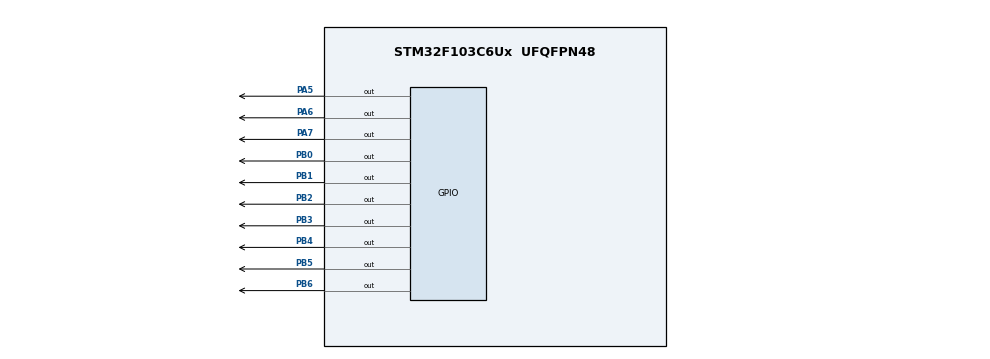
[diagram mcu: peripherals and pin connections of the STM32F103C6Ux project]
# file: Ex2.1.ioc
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Mcu.Family=STM32F1
Mcu.Name=STM32F103C6Ux
Mcu.Package=UFQFPN48
NVIC.PriorityGroup=NVIC_PRIORITYGROUP_4
NVIC.TIM2_IRQn=true\:0\:0\:false\:false\:true\:true\:true
PA5.Signal=GPIO_Output
PA6.Signal=GPIO_Output
PA7.Signal=GPIO_Output
PB0.Signal=GPIO_Output
PB1.Signal=GPIO_Output
PB2.Signal=GPIO_Output
PB3.Signal=GPIO_Output
PB4.Signal=GPIO_Output
PB5.Signal=GPIO_Output
PB6.Signal=GPIO_Output
ProjectManager.HeapSize=0x200
ProjectManager.StackSize=0x400
ProjectManager.TargetToolchain=STM32CubeIDE
RCC.APB1Freq_Value=8000000
RCC.APB2Freq_Value=8000000
TIM2.Period=9
TIM2.Prescaler=7999
VP_SYS_VS_ND.Mode=No_Debug
VP_TIM2_VS_ClockSourceINT.Mode=Internal
board=custom

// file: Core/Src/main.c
/* USER CODE BEGIN Header */
/**
  ******************************************************************************
  * @file           : main.c
  * @brief          : Main program body
  ******************************************************************************
  * @attention
  *
  * <h2><center>&copy; Copyright (c) 2026 STMicroelectronics.
  * All rights reserved.</center></h2>
  *
  * This software component is licensed by ST under BSD 3-Clause license,
  * the "License"; You may not use this file except in compliance with the
  * License. You may obtain a copy of the License at:
  *                        opensource.org/licenses/BSD-3-Clause
  *
  ******************************************************************************
  */
/* USER CODE END Header */
#include "main.h"

TIM_HandleTypeDef htim2;

/* USER CODE BEGIN PV */
int counter = 0;
int led_index = 0;

void display7SEG(int num)
{

	// Turn OFF all segments

	HAL_GPIO_WritePin(GPIOB,
	GPIO_PIN_0 |
	GPIO_PIN_1 |
	GPIO_PIN_2 |
	GPIO_PIN_3 |
	GPIO_PIN_4 |
	GPIO_PIN_5 |
	GPIO_PIN_6,
	GPIO_PIN_SET);

	switch(num)
	{

		case 1:

			// Display number 1
			// SEG1 + SEG2

			HAL_GPIO_WritePin(GPIOB,
			GPIO_PIN_1 |
			GPIO_PIN_2,
			GPIO_PIN_RESET);

			break;

		case 2:

			// Display number 2
			// SEG0 SEG1 SEG3 SEG4 SEG6

			HAL_GPIO_WritePin(GPIOB,
			GPIO_PIN_0 |
			GPIO_PIN_1 |
			GPIO_PIN_3 |
			GPIO_PIN_4 |
			GPIO_PIN_6,
			GPIO_PIN_RESET);

			break;

		default:

			break;

	}

}

void HAL_TIM_PeriodElapsedCallback(TIM_HandleTypeDef *htim)
{

	if(htim->Instance == TIM2)
	{

		counter++;

		// 50 x 10ms = 500ms
		if(counter >= 50)
		{

			counter = 0;

			HAL_GPIO_WritePin(GPIOA,
			GPIO_PIN_6|
			GPIO_PIN_7,
			GPIO_PIN_SET);

			if(led_index == 0)
			{

				display7SEG(1);

				HAL_GPIO_WritePin(GPIOA,
				GPIO_PIN_6,
				GPIO_PIN_RESET);

				led_index = 1;

			}

			else
			{

				display7SEG(2);

				// bật LED thứ hai EN1
				HAL_GPIO_WritePin(GPIOA,
				GPIO_PIN_7,
				GPIO_PIN_RESET);

				led_index = 0;

			}

		}

	}

}
/* USER CODE END PV */

void SystemClock_Config(void);
static void MX_GPIO_Init(void);
static void MX_TIM2_Init(void);

int main(void)
{

  /* MCU Configuration--------------------------------------------------------*/

  /* Reset of all peripherals, Initializes the Flash interface and the Systick. */
  HAL_Init();

  /* Configure the system clock */
  SystemClock_Config();

  /* Initialize all configured peripherals */
  MX_GPIO_Init();
  MX_TIM2_Init();
  /* USER CODE BEGIN 2 */
  HAL_TIM_Base_Start_IT(&htim2);
  /* USER CODE END 2 */

  /* Infinite loop */
  while (1)
  {

  }
}

void SystemClock_Config(void)
{
  RCC_OscInitTypeDef RCC_OscInitStruct = {0};
  RCC_ClkInitTypeDef RCC_ClkInitStruct = {0};

  /** Initializes the RCC Oscillators according to the specified parameters
  * in the RCC_OscInitTypeDef structure.
  */
  RCC_OscInitStruct.OscillatorType = RCC_OSCILLATORTYPE_HSI;
  RCC_OscInitStruct.HSIState = RCC_HSI_ON;
  RCC_OscInitStruct.HSICalibrationValue = RCC_HSICALIBRATION_DEFAULT;
  RCC_OscInitStruct.PLL.PLLState = RCC_PLL_NONE;
  if (HAL_RCC_OscConfig(&RCC_OscInitStruct) != HAL_OK)
  {
    Error_Handler();
  }
  /** Initializes the CPU, AHB and APB buses clocks
  */
  RCC_ClkInitStruct.ClockType = RCC_CLOCKTYPE_HCLK|RCC_CLOCKTYPE_SYSCLK
                              |RCC_CLOCKTYPE_PCLK1|RCC_CLOCKTYPE_PCLK2;
  RCC_ClkInitStruct.SYSCLKSource = RCC_SYSCLKSOURCE_HSI;
  RCC_ClkInitStruct.AHBCLKDivider = RCC_SYSCLK_DIV1;
  RCC_ClkInitStruct.APB1CLKDivider = RCC_HCLK_DIV1;
  RCC_ClkInitStruct.APB2CLKDivider = RCC_HCLK_DIV1;

  if (HAL_RCC_ClockConfig(&RCC_ClkInitStruct, FLASH_LATENCY_0) != HAL_OK)
  {
    Error_Handler();
  }
}

static void MX_TIM2_Init(void)
{

  TIM_ClockConfigTypeDef sClockSourceConfig = {0};
  TIM_MasterConfigTypeDef sMasterConfig = {0};

  htim2.Instance = TIM2;
  htim2.Init.Prescaler = 7999;
  htim2.Init.CounterMode = TIM_COUNTERMODE_UP;
  htim2.Init.Period = 9;
  htim2.Init.ClockDivision = TIM_CLOCKDIVISION_DIV1;
  htim2.Init.AutoReloadPreload = TIM_AUTORELOAD_PRELOAD_DISABLE;
  if (HAL_TIM_Base_Init(&htim2) != HAL_OK)
  {
    Error_Handler();
  }
  sClockSourceConfig.ClockSource = TIM_CLOCKSOURCE_INTERNAL;
  if (HAL_TIM_ConfigClockSource(&htim2, &sClockSourceConfig) != HAL_OK)
  {
    Error_Handler();
  }
  sMasterConfig.MasterOutputTrigger = TIM_TRGO_RESET;
  sMasterConfig.MasterSlaveMode = TIM_MASTERSLAVEMODE_DISABLE;
  if (HAL_TIMEx_MasterConfigSynchronization(&htim2, &sMasterConfig) != HAL_OK)
  {
    Error_Handler();
  }

}

static void MX_GPIO_Init(void)
{

GPIO_InitTypeDef GPIO_InitStruct = {0};

/* Enable GPIO clock */

__HAL_RCC_GPIOA_CLK_ENABLE();
__HAL_RCC_GPIOB_CLK_ENABLE();

/*
 * EN0 PA6
 * EN1 PA7
 *
 * PNP:
 * HIGH = OFF
 * LOW  = ON
 */

HAL_GPIO_WritePin(GPIOA,
GPIO_PIN_6|
GPIO_PIN_7,
GPIO_PIN_SET);

/*
 * Common Anode:
 * HIGH = OFF
 */

HAL_GPIO_WritePin(GPIOB,
GPIO_PIN_0|
GPIO_PIN_1|
GPIO_PIN_2|
GPIO_PIN_3|
GPIO_PIN_4|
GPIO_PIN_5|
GPIO_PIN_6,
GPIO_PIN_SET);

/* PA6 PA7 */

GPIO_InitStruct.Pin =
GPIO_PIN_6|
GPIO_PIN_7;

GPIO_InitStruct.Mode =
GPIO_MODE_OUTPUT_PP;

GPIO_InitStruct.Pull =
GPIO_NOPULL;

GPIO_InitStruct.Speed =
GPIO_SPEED_FREQ_LOW;

HAL_GPIO_Init(GPIOA,&GPIO_InitStruct);

/* PB0-PB6 */

GPIO_InitStruct.Pin =
GPIO_PIN_0|
GPIO_PIN_1|
GPIO_PIN_2|
GPIO_PIN_3|
GPIO_PIN_4|
GPIO_PIN_5|
GPIO_PIN_6;

GPIO_InitStruct.Mode =
GPIO_MODE_OUTPUT_PP;

GPIO_InitStruct.Pull =
GPIO_NOPULL;

GPIO_InitStruct.Speed =
GPIO_SPEED_FREQ_LOW;

HAL_GPIO_Init(GPIOB,&GPIO_InitStruct);

}
/* USER CODE END 4 */

void Error_Handler(void)
{
  __disable_irq();
  while (1)
  {
  }
}

/************************ (C) COPYRIGHT STMicroelectronics *****END OF FILE****/
